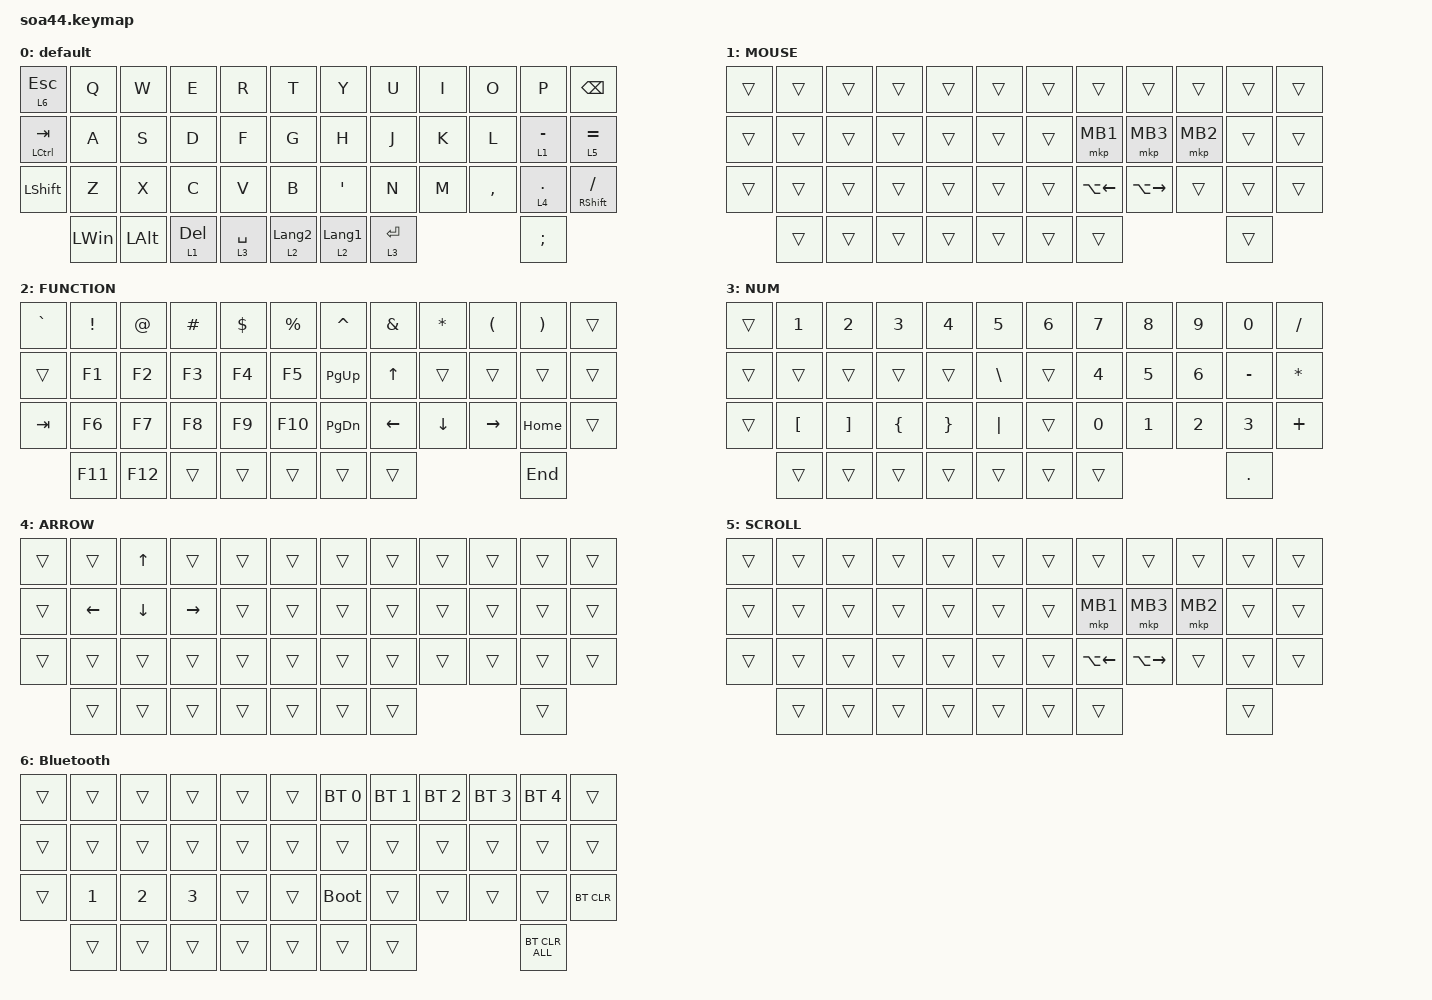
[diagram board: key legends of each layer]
#include <behaviors.dtsi>
#include <dt-bindings/zmk/bt.h>
#include <dt-bindings/zmk/keys.h>
#include <dt-bindings/zmk/pointing.h>

&mt {
    flavor = "balanced";
    quick-tap-ms = <0>;
};

/ {
    combos {
        compatible = "zmk,combos";

        tab {
            bindings = <&kp TAB>;
            key-positions = <11 12>;
        };

        shift_tab {
            bindings = <&kp LS(TAB)>;
            key-positions = <12 13>;
        };

        muhennkann {
            bindings = <&to_layer_0 INT_MUHENKAN>;
            key-positions = <11 10>;
        };

        double_quotation {
            bindings = <&kp DOUBLE_QUOTES>;
            key-positions = <20 21>;
        };

        eq {
            bindings = <&kp EQUAL>;
            key-positions = <24 25>;
        };
    };

    macros {
        to_layer_0: to_layer_0 {
            compatible = "zmk,behavior-macro-one-param";
            #binding-cells = <1>;
            bindings = <&to 0 &macro_param_1to1 &kp MACRO_PLACEHOLDER>;
            label = "TO_LAYER_0";
        };
    };

    behaviors {
        lt_to_layer_0: lt_to_layer_0 {
            compatible = "zmk,behavior-hold-tap";
            label = "LAYER_TAP_TO_0";
            bindings = <&mo>, <&to_layer_0>;

            #binding-cells = <2>;
            tapping-term-ms = <200>;
        };
    };

    keymap {
        compatible = "zmk,keymap";

        default {
            bindings = <
&lt 6 ESCAPE    &kp Q         &kp W         &kp E         &kp R        &kp T             &kp Y             &kp U        &kp I  &kp O      &kp P          &kp BACKSPACE
&mt LCTRL TAB   &kp A         &kp S         &kp D         &kp F        &kp G             &kp H             &kp J        &kp K  &kp L      &lt 1 MINUS    &lt 5 EQUAL
&kp LEFT_SHIFT  &kp Z         &kp X         &kp C         &kp V        &kp B             &kp SQT           &kp N        &kp M  &kp COMMA  &lt 4 DOT      &mt RIGHT_SHIFT SLASH
                &kp LEFT_WIN  &kp LEFT_ALT  &lt 1 DELETE  &lt 3 SPACE  &lt 2 LANGUAGE_2  &lt 2 LANGUAGE_1  &lt 3 ENTER                    &kp SEMICOLON
            >;
        };

        MOUSE {
            bindings = <
&trans  &trans  &trans  &trans  &trans  &trans  &trans  &trans        &trans         &trans    &trans  &trans
&trans  &trans  &trans  &trans  &trans  &trans  &trans  &mkp MB1      &mkp MB3       &mkp MB2  &trans  &trans
&trans  &trans  &trans  &trans  &trans  &trans  &trans  &kp LA(LEFT)  &kp LA(RIGHT)  &trans    &trans  &trans
        &trans  &trans  &trans  &trans  &trans  &trans  &trans                                 &trans
            >;
        };

        FUNCTION {
            bindings = <
&kp GRAVE  &kp EXCLAMATION  &kp AT_SIGN  &kp HASH  &kp DOLLAR  &kp PERCENT  &kp CARET      &kp AMPERSAND  &kp ASTERISK  &kp LEFT_PARENTHESIS  &kp RIGHT_PARENTHESIS  &trans
&trans     &kp F1           &kp F2       &kp F3    &kp F4      &kp F5       &kp PAGE_UP    &kp UP         &trans        &trans                &trans                 &trans
&kp TAB    &kp F6           &kp F7       &kp F8    &kp F9      &kp F10      &kp PAGE_DOWN  &kp LEFT       &kp DOWN      &kp RIGHT             &kp HOME               &trans
           &kp F11          &kp F12      &trans    &trans      &trans       &trans         &trans                                             &kp END
            >;
        };

        NUM {
            bindings = <
&trans  &kp N1            &kp N2             &kp N3          &kp N4           &kp N5         &kp N6  &kp N7  &kp N8  &kp N9  &kp N0      &kp SLASH
&trans  &trans            &trans             &trans          &trans           &kp BACKSLASH  &trans  &kp N4  &kp N5  &kp N6  &kp MINUS   &kp ASTERISK
&trans  &kp LEFT_BRACKET  &kp RIGHT_BRACKET  &kp LEFT_BRACE  &kp RIGHT_BRACE  &kp PIPE       &trans  &kp N0  &kp N1  &kp N2  &kp N3      &kp PLUS
        &trans            &trans             &trans          &trans           &trans         &trans  &trans                  &kp PERIOD
            >;
        };

        ARROW {
            bindings = <
&trans  &trans          &kp UP_ARROW    &trans           &trans  &trans  &trans  &trans  &trans  &trans  &trans  &trans
&trans  &kp LEFT_ARROW  &kp DOWN_ARROW  &kp RIGHT_ARROW  &trans  &trans  &trans  &trans  &trans  &trans  &trans  &trans
&trans  &trans          &trans          &trans           &trans  &trans  &trans  &trans  &trans  &trans  &trans  &trans
        &trans          &trans          &trans           &trans  &trans  &trans  &trans                  &trans
            >;
        };

        SCROLL {
            bindings = <
&trans  &trans  &trans  &trans  &trans  &trans  &trans  &trans        &trans         &trans    &trans  &trans
&trans  &trans  &trans  &trans  &trans  &trans  &trans  &mkp MB1      &mkp MB3       &mkp MB2  &trans  &trans
&trans  &trans  &trans  &trans  &trans  &trans  &trans  &kp LA(LEFT)  &kp LA(RIGHT)  &trans    &trans  &trans
        &trans  &trans  &trans  &trans  &trans  &trans  &trans                                 &trans
            >;
        };

        Bluetooth {
            bindings = <
&trans  &trans        &trans        &trans        &trans  &trans  &bt BT_SEL 0  &bt BT_SEL 1  &bt BT_SEL 2  &bt BT_SEL 3  &bt BT_SEL 4    &trans
&trans  &trans        &trans        &trans        &trans  &trans  &trans        &trans        &trans        &trans        &trans          &trans
&trans  &kp NUMBER_1  &kp NUMBER_2  &kp NUMBER_3  &trans  &trans  &bootloader   &trans        &trans        &trans        &trans          &bt BT_CLR
        &trans        &trans        &trans        &trans  &trans  &trans        &trans                                    &bt BT_CLR_ALL
            >;
        };
    };
};
